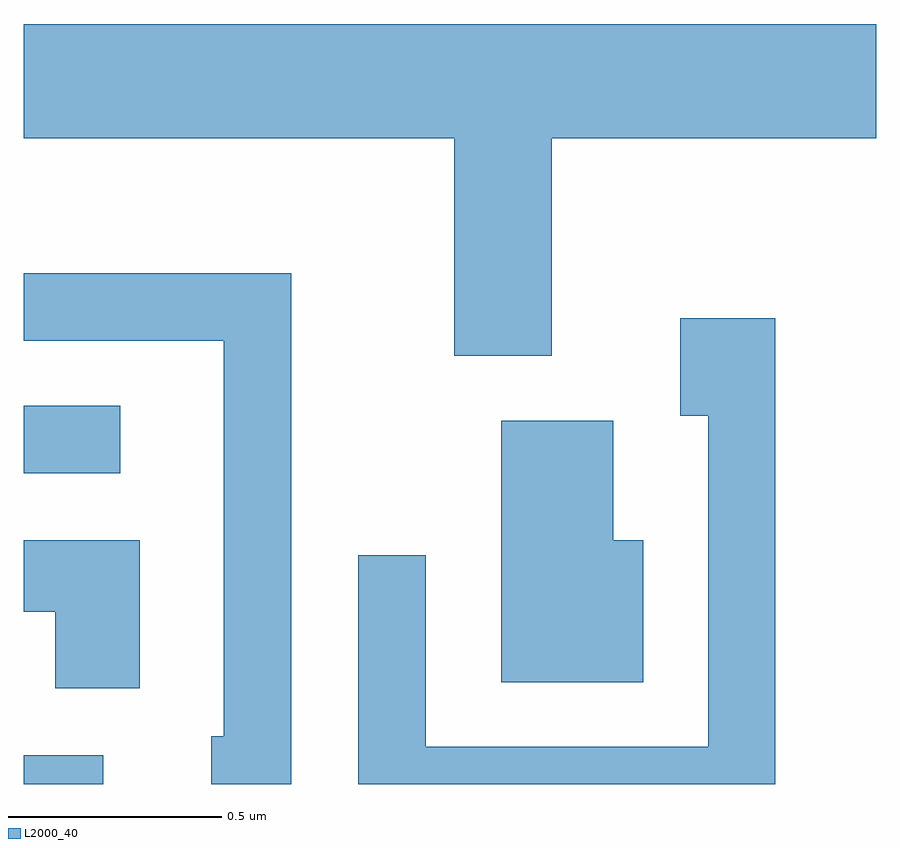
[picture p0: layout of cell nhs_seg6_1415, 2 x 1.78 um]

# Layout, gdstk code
import gdstk
lib = gdstk.Library(unit=1e-6, precision=1e-09)
def R(c, l, rs):  # rectangles x0, y0, x1, y1
    for r in rs: c.add(gdstk.rectangle(r[:2], r[2:], *l))
def P(c, l, *ps):  # polygons
    for p in ps: c.add(gdstk.Polygon(p, *l))
L2000_40 = (2000, 40)

nhs_seg6_1415 = lib.new_cell('nhs_seg6_1415')
R(nhs_seg6_1415, L2000_40, [(195.611,1575.162,195.798,1575.229), (195.611,1575.891,195.838,1576.049)])
P(nhs_seg6_1415, L2000_40, [(196.849,1576.676),(197.611,1576.676),(197.611,1576.944),(195.611,1576.944),(195.611,1576.676),(196.621,1576.676),(196.621,1576.166),(196.849,1576.166)],
  [(196.239,1576.359),(195.611,1576.359),(195.611,1576.201),(196.081,1576.201),(196.081,1575.274),(196.051,1575.274),(196.051,1575.162),(196.239,1575.162)],
  [(197.374,1576.254),(197.151,1576.254),(197.151,1576.026),(197.216,1576.026),(197.216,1575.249),(196.554,1575.249),(196.554,1575.698),(196.396,1575.698),(196.396,1575.162),(197.374,1575.162)],
  [(197.064,1575.734),(196.994,1575.734),(196.994,1576.014),(196.731,1576.014),(196.731,1575.401),(197.064,1575.401)],
  [(195.884,1575.734),(195.611,1575.734),(195.611,1575.566),(195.686,1575.566),(195.686,1575.386),(195.884,1575.386)])

lib.write_gds('nhs_seg6_1415.gds')
